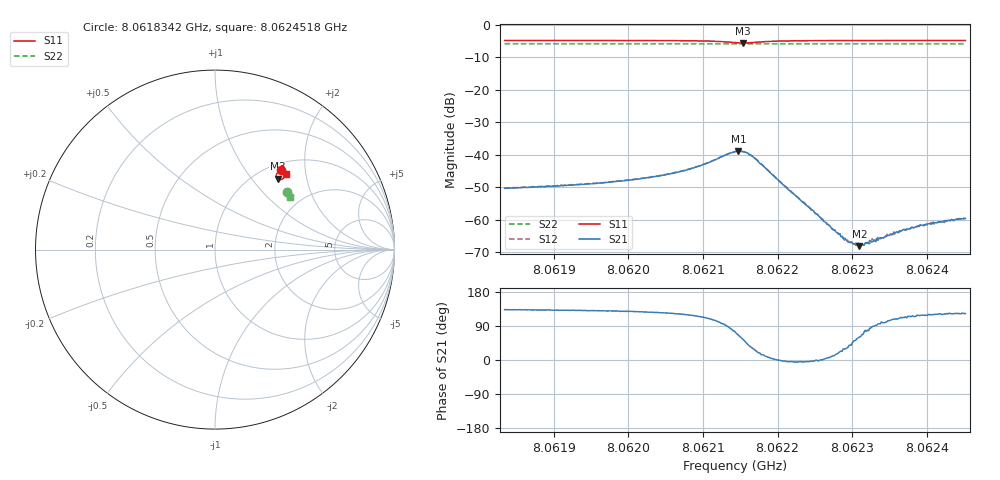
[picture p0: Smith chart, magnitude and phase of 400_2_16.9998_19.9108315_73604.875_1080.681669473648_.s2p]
#  HZ  S  RI  R  50.00
! Rohde & Schwarz Vector Network Analyzer
! Rohde-Schwarz,ZNB20-2Port,1311601062101988,3.16
! Created: UTC 3/20/2024, 11:10:00 PM
! freq[Hz]  re:S11  im:S11  re:S21  im:S21  re:S12  im:S12  re:S22  im:S22
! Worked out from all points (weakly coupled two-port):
!   401 points, 8.0618342 GHz to 8.0624518 GHz, reference 50 ohm
!   highest |S21| = -38.90 dB at 8.0621476 GHz (marker M1); lowest = -68.1 dB at 8.0623097 GHz (marker M2)
!   lowest |S11| = -5.6 dB at 8.0621538 GHz (marker M3), VSWR 3.23, Z = 62.3 + j68.2 ohm
!   |S11| at or under -10 dB: nowhere
!   |S22| runs from -5.9 to -5.8 dB; largest |S21 - S12| = 0.00087
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8.0618342e9  0.3664 0.4445  -0.00208 0.00224  -0.00198 0.0024  0.3987 0.3215
8.06193764e9  0.3737 0.438  -0.0023 0.00267  -0.00214 0.00283  0.4026 0.3164
8.06199167e9  0.3777 0.4339  -0.00249 0.00309  -0.00229 0.00327  0.4046 0.3136
8.06204108e9  0.382 0.4283  -0.00271 0.00385  -0.00248 0.00407  0.4064 0.3108
8.06209048e9  0.3863 0.4175  -0.00286 0.00582  -0.00253 0.00604  0.4082 0.308
8.06214298e9  0.365 0.39  0.00292 0.0107  0.00378 0.0106  0.4087 0.3046
8.06214761e9  0.3582 0.3906  0.00472 0.0103  0.00545 0.0103  0.4086 0.3043
8.06215378e9  0.3493 0.3952  0.00653 0.00908  0.00713 0.00872  0.4085 0.3046
8.06215996e9  0.3431 0.4031  0.00799 0.00714  0.00842 0.00659  0.4084 0.3046
8.06217077e9  0.3418 0.4183  0.00781 0.00355  0.0081 0.00321  0.4089 0.3049
8.06224642e9  0.3726 0.4345  0.00141 -8.6e-05  0.00141 -0.000186  0.4131 0.3015
8.06229119e9  0.3795 0.4314  0.000442 0.00025  0.000444 0.000246  0.4148 0.2992
8.06230354e9  0.3811 0.4305  0.000269 0.00033  0.000269 0.000326  0.4154 0.2985
8.06230972e9  0.3816 0.4302  0.000192 0.000344  0.000236 0.000347  0.4156 0.2984
8.06231281e9  0.382 0.43  0.000169 0.000382  0.000183 0.000377  0.4157 0.2981
8.06232053e9  0.3828 0.4294  8.79e-05 0.000441  0.000117 0.000419  0.4159 0.2976
8.06232824e9  0.3834 0.429  6.64e-06 0.000468  5.37e-05 0.000487  0.4163 0.2972
8.06233905e9  0.3845 0.4282  -9.4e-05 0.000517  -9.22e-06 0.00052  0.4167 0.2967
8.06234986e9  0.3855 0.4276  -0.000138 0.00056  -0.00011 0.000555  0.417 0.2961
8.06239e9  0.3886 0.4252  -0.000364 0.000704  -0.000336 0.000758  0.4184 0.294
8.06243169e9  0.3917 0.4227  -0.000534 0.000834  -0.000493 0.000835  0.4198 0.2919
8.06245176e9  0.3931 0.4215  -0.000566 0.000885  -0.000511 0.000913  0.4205 0.2909
